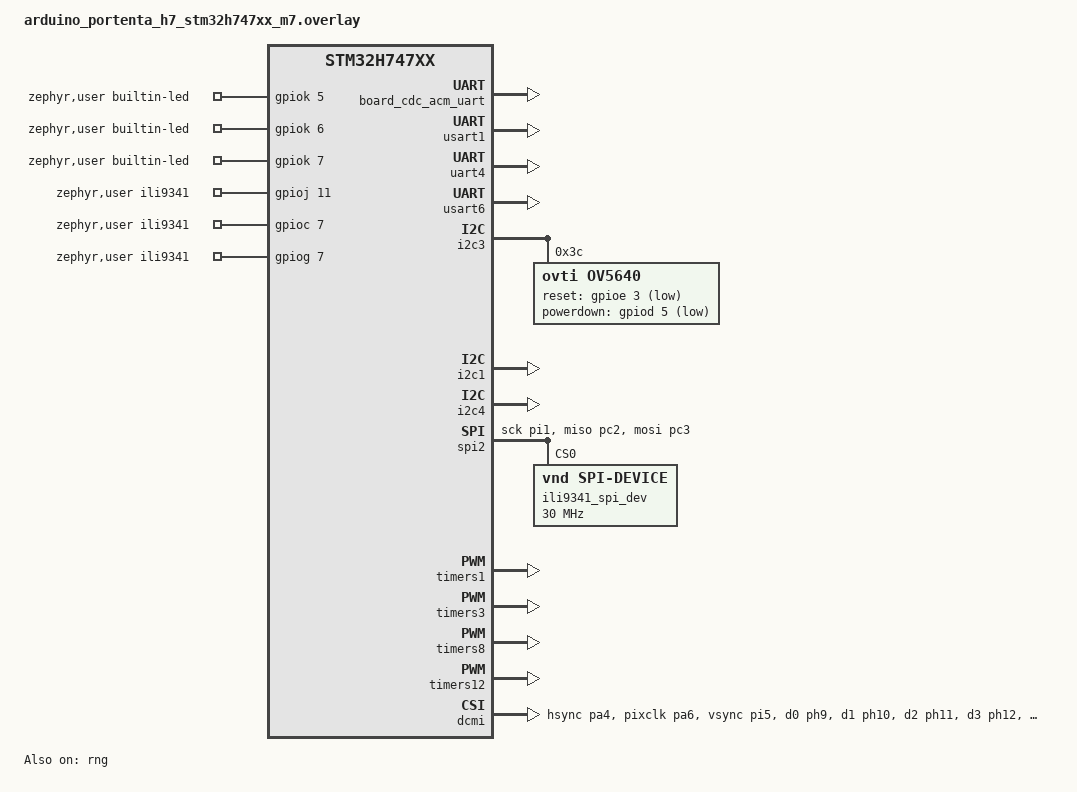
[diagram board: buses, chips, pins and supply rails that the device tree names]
/* This is copy of the Arduino setup */
&board_cdc_acm_uart {
	status = "okay";
};

&usart1 {
	status = "okay";
};

&uart4 {
	status = "okay";
};

&usart6 {
	status = "okay";
};

&i2c3 {
	status = "okay";

	ov5640: ov5640@3c {
		compatible = "ovti,ov5640";
		reg = <0x3c>;
		status = "okay";

		reset-gpios = <&gpioe 3 GPIO_ACTIVE_LOW>;
		powerdown-gpios = <&gpiod 5 GPIO_ACTIVE_LOW>;

		port {
			ov5640_ep_out: endpoint {
				remote-endpoint-label = "dcmi_ep_in";
			};
		};
	};

};

&i2c1 {
	status = "okay";
};

&i2c4 {
	status = "okay";
};

&spi2 {
	status = "okay";
	pinctrl-0 = <&spi2_sck_pi1
		     &spi2_miso_pc2 &spi2_mosi_pc3>;
	pinctrl-names = "default";
	/* added for sketch */
	ili9341_spi_dev: ili9341_spi_dev@0 {
		status = "okay";
		compatible = "vnd,spi-device";
		reg = <0>;
		spi-max-frequency = <30000000>;
	};

};

&timers1 {
	status = "okay";
	st,prescaler = <0>;

	pwm1: pwm {
		status = "okay";
		pinctrl-0 = <&tim1_ch1_pa8 &tim1_ch2_pj11>;
		pinctrl-names = "default";
	};
};

&timers3 {
	status = "okay";
	st,prescaler = <100>;

	pwm3: pwm {
		status = "okay";
		pinctrl-0 = <&tim3_ch1_pc6 &tim3_ch2_pc7>;
		pinctrl-names = "default";
	};
};

&timers8 {
	status = "okay";
	st,prescaler = <100>;

	pwm8: pwm {
		status = "okay";
		pinctrl-0 = <&tim8_ch3n_ph15 &tim8_ch2_pj10 &tim8_ch2n_pj7>;
		pinctrl-names = "default";
	};
};

&timers12 {
	status = "okay";
	st,prescaler = <100>;

	pwm12: pwm {
		status = "okay";
		pinctrl-0 = <&tim12_ch1_ph6>;
		pinctrl-names = "default";
	};
};

&pwm1 {
	/* Camera source clock */
	pwmclock: pwmclock {
		status = "okay";
		compatible = "pwm-clock";
		clock-frequency = <0>;
		#clock-cells = <1>;
		pwms = <&pwm1 1 PWM_HZ(12000000) PWM_POLARITY_NORMAL>;
		/* 12MHz for 7670, default is also 12MHz */
	};
};

&rng {
	status = "okay";
};

&dmamux1 {
	status = "okay";
};

&dma1 {
	status = "okay";
};

&dcmi {
	status = "okay";
	/* ext-sdram = <&sdram1>; */
	pinctrl-0 = <&dcmi_hsync_pa4 &dcmi_pixclk_pa6 &dcmi_vsync_pi5
		     &dcmi_d0_ph9 &dcmi_d1_ph10 &dcmi_d2_ph11 &dcmi_d3_ph12
		     &dcmi_d4_ph14 &dcmi_d5_pi4 &dcmi_d6_pi6 &dcmi_d7_pi7>;
	pinctrl-names = "default";
	dmas = <&dma1 0 75 (STM32_DMA_PERIPH_TO_MEMORY | STM32_DMA_PERIPH_NO_INC |
			    STM32_DMA_MEM_INC | STM32_DMA_PERIPH_32BITS | STM32_DMA_MEM_32BITS |
			    STM32_DMA_PRIORITY_HIGH) STM32_DMA_FIFO_1_4>; //FULL for 7670, default FIFO_1_4

	port {
		dcmi_ep_in: endpoint {
			remote-endpoint-label = "ov5640_ep_out";
			bus-width = <8>;
			hsync-active = <0>;
			vsync-active = <0>;
			pclk-sample = <0>;
		};
	};
};


/ {
	chosen {
		zephyr,camera = &dcmi;
		zephyr,console = &usart6;
		zephyr,shell-uart = &usart6;
		zephyr,cdc-acm-uart0 = &usart6;
	};

};


/ {
	zephyr,user {
		builtin-led-gpios = <&gpiok 5 0>,
				    <&gpiok 6 0>,
				    <&gpiok 7 0>;

	};
};

/* This apps setup */
/ {

	zephyr,user {
		ili9341-gpios = <&gpioj 11 GPIO_ACTIVE_HIGH>,	/* CS D2 */
						<&gpioc 7 GPIO_ACTIVE_HIGH>,	/* DC D4 */
						<&gpiog 7 GPIO_ACTIVE_HIGH>;	/* RST D3 */
						/* <&gpio1 30 GPIO_ACTIVE_LOW>;	touch cs Pin 26 */

	};
	
	chosen {


	};
};
